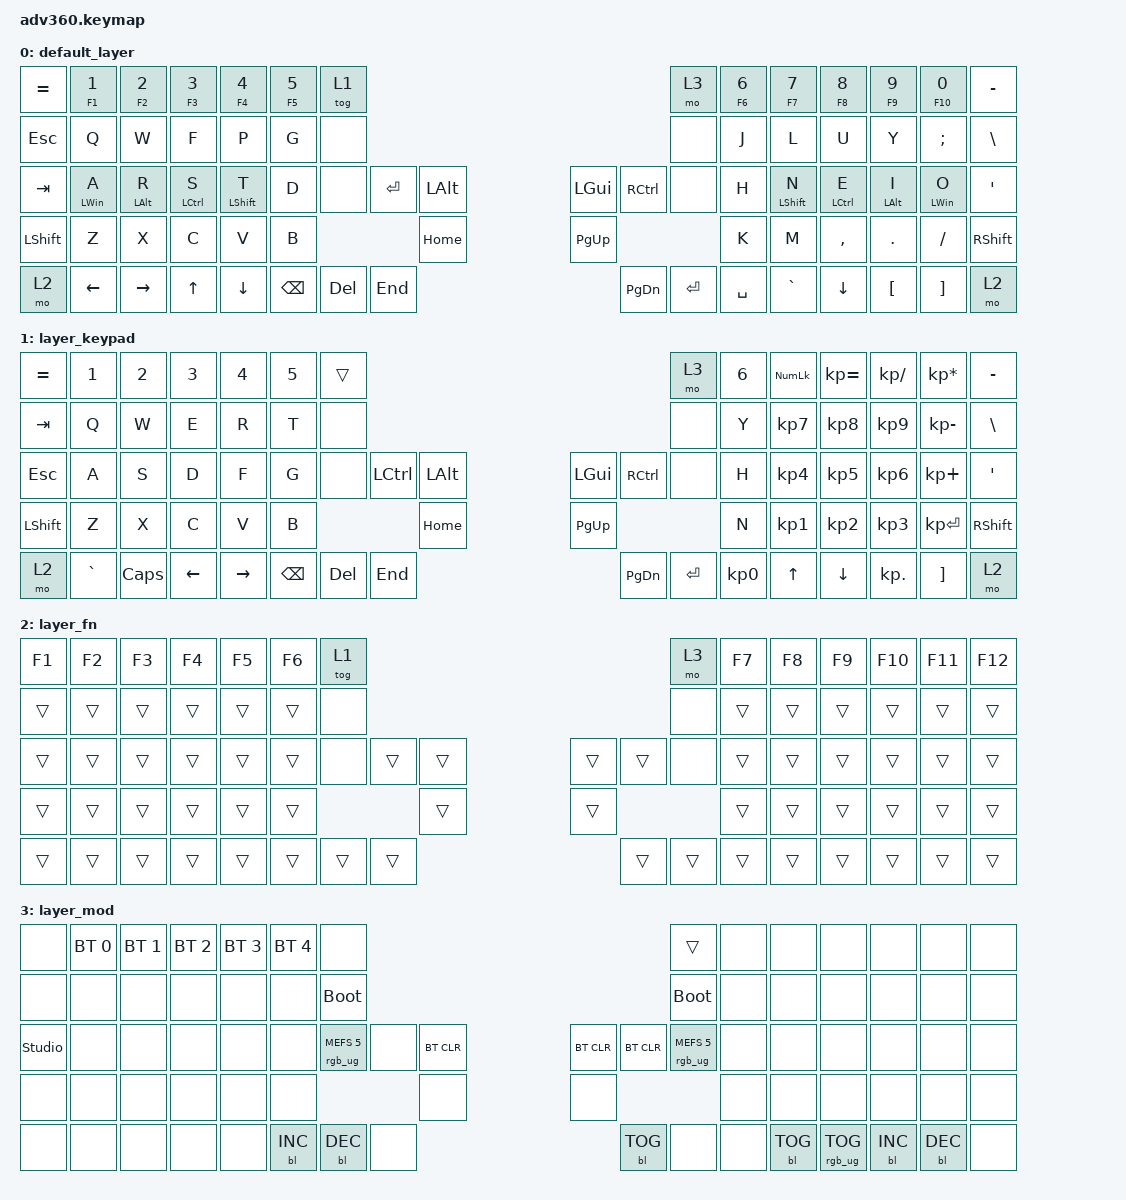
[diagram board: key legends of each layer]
#include <behaviors.dtsi>
#include <dt-bindings/zmk/keys.h>
#include <dt-bindings/zmk/bt.h>
#include <dt-bindings/zmk/rgb.h>
#include <dt-bindings/zmk/stp.h>
#include <dt-bindings/zmk/backlight.h>
#include <dt-bindings/zmk/pointing.h>

/ {
  behaviors {
    #include "macros.dtsi"
      #include "version.dtsi"

    hm: homerow_mods {
        compatible = "zmk,behavior-hold-tap";
        label = "HOMEROW_MODS";
        #binding-cells = <2>;
        tapping-term-ms = <200>;
        quick-tap-ms = <175>;
        flavor = "tap-preferred";
        bindings = <&kp>, <&kp>;
    };

    // Left-hand home row mods: only trigger a hold when combined with a
    // right-hand key or a thumb (positional hold-tap). Prevents same-hand
    // misfires while typing.
    hml: home_row_mod_left {
        compatible = "zmk,behavior-hold-tap";
        label = "HRM_LEFT";
        #binding-cells = <2>;
        flavor = "balanced";
        tapping-term-ms = <200>;
        quick-tap-ms = <175>;
        require-prior-idle-ms = <150>;
        hold-trigger-on-release;
        hold-trigger-key-positions = <
            8 9 10 11 12 13
            22 23 24 25 26 27
            40 41 42 43 44 45
            54 55 56 57 58 59
            71 72 73 74 75
            34 35 36 37 38 39 52 53 65 66 67 68 69 70
        >;
        bindings = <&kp>, <&kp>;
    };

    // Right-hand home row mods: mirror of hml, triggering on left-hand keys.
    hmr: home_row_mod_right {
        compatible = "zmk,behavior-hold-tap";
        label = "HRM_RIGHT";
        #binding-cells = <2>;
        flavor = "balanced";
        tapping-term-ms = <200>;
        quick-tap-ms = <175>;
        require-prior-idle-ms = <150>;
        hold-trigger-on-release;
        hold-trigger-key-positions = <
            0 1 2 3 4 5 6
            14 15 16 17 18 19
            28 29 30 31 32 33
            46 47 48 49 50 51
            60 61 62 63 64
            34 35 36 37 38 39 52 53 65 66 67 68 69 70
        >;
        bindings = <&kp>, <&kp>;
    };
  };

  combos {
    compatible = "zmk,combos";

    // caps word: T + D
    combo_caps_word {
        timeout-ms = <35>;
        require-prior-idle-ms = <100>;
        key-positions = <32 33>;
        bindings = <&caps_word>;
        layers = <0>;
    };

    // ( ) with cursor inside: W + S
    combo_parens {
        timeout-ms = <35>;
        require-prior-idle-ms = <100>;
        key-positions = <16 31>;
        bindings = <&macro_parens>;
        layers = <0>;
    };

    // [ ] with cursor inside: F + T
    combo_brackets {
        timeout-ms = <35>;
        require-prior-idle-ms = <100>;
        key-positions = <17 32>;
        bindings = <&macro_brackets>;
        layers = <0>;
    };

    // { } with cursor inside: P + D
    combo_braces {
        timeout-ms = <35>;
        require-prior-idle-ms = <100>;
        key-positions = <18 33>;
        bindings = <&macro_braces>;
        layers = <0>;
    };
  };

    keymap {
        compatible = "zmk,keymap";


        default_layer {
            bindings = <
 &kp EQUAL          &hm F1 N1          &hm F2 N2              &hm F3 N3            &hm F4 N4  &hm F5 N5              &tog 1                                                                 &mo 3  &hm F6 N6            &hm F7 N7       &hm F8 N8          &hm F9 N9         &hm F10 N0  &kp MINUS
   &kp ESC           &kp Q           &kp W               &kp F             &kp P   &kp G               &none                                                                 &none   &kp J             &kp L        &kp U           &kp Y  &kp SEMICOLON   &kp BSLH
   &kp TAB  &hml LEFT_WIN A  &hml LEFT_ALT R  &hml LEFT_CONTROL S  &hml LEFT_SHIFT T   &kp D               &none  &kp ENTER  &kp LALT                   &kp LGUI  &kp RCTRL      &none   &kp H  &hmr LEFT_SHIFT N  &hmr LCTRL E  &hmr LEFT_ALT I     &hmr LWIN O    &kp SQT
 &kp LSHFT           &kp Z           &kp X               &kp C             &kp V   &kp B                                 &kp HOME                  &kp PG_UP                         &kp K             &kp M    &kp COMMA         &kp DOT       &kp FSLH  &kp RSHFT
     &mo 2        &kp LEFT       &kp RIGHT        &kp UP_ARROW    &kp DOWN_ARROW                    &kp BSPC    &kp DEL   &kp END                  &kp PG_DN  &kp ENTER  &kp SPACE                 &kp GRAVE     &kp DOWN        &kp LBKT       &kp RBKT      &mo 2
            >;
        };

        layer_keypad {
            bindings = <
 &kp EQUAL     &kp N1    &kp N2    &kp N3     &kp N4  &kp N5              &trans                                                                 &mo 3  &kp N6  &kp KP_NUM  &kp KP_EQUAL  &kp KP_DIVIDE  &kp KP_MULTIPLY  &kp MINUS
   &kp TAB      &kp Q     &kp W     &kp E      &kp R   &kp T               &none                                                                 &none   &kp Y   &kp KP_N7     &kp KP_N8      &kp KP_N9     &kp KP_MINUS   &kp BSLH
   &kp ESC      &kp A     &kp S     &kp D      &kp F   &kp G               &none  &kp LCTRL  &kp LALT                   &kp LGUI  &kp RCTRL      &none   &kp H   &kp KP_N4     &kp KP_N5      &kp KP_N6      &kp KP_PLUS    &kp SQT
 &kp LSHFT      &kp Z     &kp X     &kp C      &kp V   &kp B                                 &kp HOME                  &kp PG_UP                         &kp N   &kp KP_N1     &kp KP_N2      &kp KP_N3     &kp KP_ENTER  &kp RSHFT
     &mo 2  &kp GRAVE  &kp CAPS  &kp LEFT  &kp RIGHT                    &kp BSPC    &kp DEL   &kp END                  &kp PG_DN  &kp ENTER  &kp KP_N0              &kp UP      &kp DOWN     &kp KP_DOT         &kp RBKT      &mo 2
            >;
        };

        layer_fn {
            bindings = <
 &kp F1  &kp F2  &kp F3  &kp F4  &kp F5  &kp F6            &tog 1                                                   &mo 3  &kp F7  &kp F8  &kp F9  &kp F10  &kp F11  &kp F12
 &trans  &trans  &trans  &trans  &trans  &trans             &none                                                   &none  &trans  &trans  &trans   &trans   &trans   &trans
 &trans  &trans  &trans  &trans  &trans  &trans             &none  &trans  &trans                  &trans  &trans   &none  &trans  &trans  &trans   &trans   &trans   &trans
 &trans  &trans  &trans  &trans  &trans  &trans                            &trans                  &trans                  &trans  &trans  &trans   &trans   &trans   &trans
 &trans  &trans  &trans  &trans  &trans                    &trans  &trans  &trans                  &trans  &trans  &trans          &trans  &trans   &trans   &trans   &trans
            >;
        };

        layer_mod {
            bindings = <
  &none  &bt BT_SEL 0  &bt BT_SEL 1  &bt BT_SEL 2  &bt BT_SEL 3  &bt BT_SEL 4                             &none                                                                                  &trans   &none       &none            &none       &none       &none   &none
  &none         &none         &none         &none         &none         &none                       &bootloader                                                                             &bootloader   &none       &none            &none       &none       &none   &none
  &studio_unlock         &none         &none         &none         &none         &none            &rgb_ug RGB_MEFS_CMD 5       &none  &bt BT_CLR                  &bt BT_CLR  &bt BT_CLR  &rgb_ug RGB_MEFS_CMD 5   &none       &none            &none       &none       &none   &none
  &none         &none         &none         &none         &none         &none                                                     &none                       &none                                       &none       &none            &none       &none       &none   &none
  &none         &none         &none         &none         &none                                      &bl BL_INC  &bl BL_DEC       &none                  &bl BL_TOG       &none                   &none          &bl BL_TOG  &rgb_ug RGB_TOG  &bl BL_INC  &bl BL_DEC   &none
            >;
        };

    };
};
